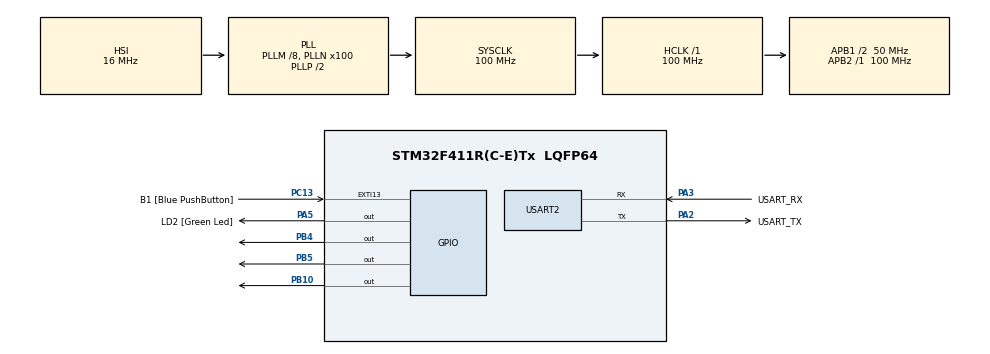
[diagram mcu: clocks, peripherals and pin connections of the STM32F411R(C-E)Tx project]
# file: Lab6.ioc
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FREERTOS.Tasks01=defaultTask,24,128,StartDefaultTask,Default,NULL,Dynamic,NULL,NULL
Mcu.Family=STM32F4
Mcu.Name=STM32F411R(C-E)Tx
Mcu.Package=LQFP64
NVIC.PriorityGroup=NVIC_PRIORITYGROUP_4
PA13.GPIO_Label=TMS
PA13.Mode=Serial_Wire
PA13.Signal=SYS_JTMS-SWDIO
PA14.GPIO_Label=TCK
PA14.Mode=Serial_Wire
PA14.Signal=SYS_JTCK-SWCLK
PA2.GPIO_Label=USART_TX
PA2.Mode=Asynchronous
PA2.Signal=USART2_TX
PA3.GPIO_Label=USART_RX
PA3.Mode=Asynchronous
PA3.Signal=USART2_RX
PA5.GPIO_Label=LD2 [Green Led]
PA5.Signal=GPIO_Output
PB10.Signal=GPIO_Output
PB3.GPIO_Label=SWO
PB3.Signal=SYS_JTDO-SWO
PB4.Signal=GPIO_Output
PB5.Signal=GPIO_Output
PC13-ANTI_TAMP.GPIO_Label=B1 [Blue PushButton]
PC13-ANTI_TAMP.GPIO_ModeDefaultEXTI=GPIO_MODE_IT_FALLING
PC13-ANTI_TAMP.Signal=GPXTI13
PC14-OSC32_IN.Mode=LSE-External-Oscillator
PC14-OSC32_IN.Signal=RCC_OSC32_IN
PC15-OSC32_OUT.Mode=LSE-External-Oscillator
PC15-OSC32_OUT.Signal=RCC_OSC32_OUT
PH0\ -\ OSC_IN.Mode=HSE-External-Clock-Source
PH0\ -\ OSC_IN.Signal=RCC_OSC_IN
PH1\ -\ OSC_OUT.Mode=HSE-External-Clock-Source
PH1\ -\ OSC_OUT.Signal=RCC_OSC_OUT
ProjectManager.HeapSize=0x200
ProjectManager.StackSize=0x400
ProjectManager.TargetToolchain=STM32CubeIDE
RCC.48MHZClocksFreq_Value=50000000
RCC.AHBFreq_Value=100000000
RCC.APB1CLKDivider=RCC_HCLK_DIV2
RCC.APB1Freq_Value=50000000
RCC.APB1TimFreq_Value=100000000
RCC.APB2Freq_Value=100000000
RCC.APB2TimFreq_Value=100000000
RCC.CortexFreq_Value=100000000
RCC.FLatency-AdvancedSettings=FLASH_LATENCY_3
RCC.HCLKFreq_Value=100000000
RCC.HSE_VALUE=8000000
RCC.HSI_VALUE=16000000
RCC.PLLM=8
RCC.PLLN=100
RCC.SYSCLKFreq_VALUE=100000000
RCC.SYSCLKSource=RCC_SYSCLKSOURCE_PLLCLK
RCC.VCOOutputFreq_Value=200000000
USART2.VirtualMode=VM_ASYNC
VP_FREERTOS_VS_CMSIS_V2.Mode=CMSIS_V2
board=NUCLEO-F411RE

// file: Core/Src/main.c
/* USER CODE BEGIN Header */
/**
  ******************************************************************************
  * @file           : main.c
  * @brief          : Main program body
  ******************************************************************************
  * @attention
  *
  * Copyright (c) 2023 STMicroelectronics.
  * All rights reserved.
  *
  * This software is licensed under terms that can be found in the LICENSE file
  * in the root directory of this software component.
  * If no LICENSE file comes with this software, it is provided AS-IS.
  *
  ******************************************************************************
  */
/* USER CODE END Header */
#include "main.h"
#include "cmsis_os.h"

UART_HandleTypeDef huart2;

/* Definitions for defaultTask */
osThreadId_t defaultTaskHandle;
const osThreadAttr_t defaultTask_attributes = {
  .name = "defaultTask",
  .stack_size = 128 * 4,
  .priority = (osPriority_t) osPriorityNormal,
};

void SystemClock_Config(void);
static void MX_GPIO_Init(void);
static void MX_USART2_UART_Init(void);
void StartDefaultTask(void *argument);

/* USER CODE BEGIN 0 */
struct my_message{
	char data[32];
};
osMessageQueueAttr_t queue_attr = {
		.name = "my_queue"
};
osMessageQueueId_t queue_id;
osThreadId_t thread_led1,thread_led2,thread_led3,thread_led4,thread_uart0,thread_uart1,thread_queue;
osMutexAttr_t mutex_attr = {
		.name = "my_mutex"
};
osMutexId_t mutex_id;
void LED1_Thread(void *argument){
//	Lab 6-1
	while(1){
		HAL_GPIO_TogglePin(GPIOA, GPIO_PIN_5);
		osDelay(50);
	}
}
void LED2_Thread(void *argument){
//	Lab 6-1
	while(1){
		HAL_GPIO_TogglePin(GPIOB, GPIO_PIN_10);
		osDelay(18);
	}
}
void LED3_Thread(void *argument){
//	Lab 6-1
	while(1){
		HAL_GPIO_TogglePin(GPIOB, GPIO_PIN_4);
		osDelay(128);
	}
}
void LED4_Thread(void *argument){
//	Lab 6-1
	while(1){
		HAL_GPIO_TogglePin(GPIOB, GPIO_PIN_5);
		osDelay(64);
	}
}
void UART0_Thread(void *argument){
	int threadID = 0; // threadID is 0 for one thread and 1 for another
	int idx = 0;
	char buffer[32];
	while(1) {
//		Lab 6-3
		osMutexAcquire(mutex_id, osWaitForever);
		sprintf(buffer, "TID: %d %d\r\n", threadID, idx);
		idx ++;
		HAL_UART_Transmit(&huart2, buffer, strlen(buffer), 1000);
		osMutexRelease(mutex_id);
//		Lab 6-4
//		sprintf(buffer, "TID: %d %d\r\n", threadID, idx);
//		idx ++;
//		osMessageQueuePut(queue_id, buffer, 0, 0);
	}
}
void UART1_Thread(void *argument){
	int threadID = 1; // threadID is 0 for one thread and 1 for another
	int idx = 0;
	char buffer[32];
	while(1) {
//		Lab 6-3
		osMutexAcquire(mutex_id, osWaitForever);
		sprintf(buffer, "TID: %d %d\r\n", threadID, idx);
		idx ++;
		HAL_UART_Transmit(&huart2, buffer, strlen(buffer), 1000);
		osMutexRelease(mutex_id);
//		Lab 6-4
//		sprintf(buffer, "TID: %d %d\r\n", threadID, idx);
//		idx ++;
//		struct my_message msg;
//		strcpy(msg.data,buffer);
//		osMessageQueuePut(queue_id, buffer, 0, 0);
	}
}
void Queue_Thread(void *argument){
//	Lab 6-4
//	char msg[32];
//	if(osMessageQueueGet(queue_id, msg, NULL, osWaitForever) == osOK){
//		HAL_UART_Transmit(&huart2, (uint8_t *)(msg), sizeof(msg), HAL_MAX_DELAY);
//	}
}
/* USER CODE END 0 */

int main(void)
{

  /* MCU Configuration--------------------------------------------------------*/

  /* Reset of all peripherals, Initializes the Flash interface and the Systick. */
  HAL_Init();

  /* Configure the system clock */
  SystemClock_Config();

  /* Initialize all configured peripherals */
  MX_GPIO_Init();
  MX_USART2_UART_Init();
  /* USER CODE BEGIN 2 */
//  Lab 6-3
  mutex_id = osMutexNew(&mutex_attr);
//  Lab 6-4
  queue_id = osMessageQueueNew(16, sizeof(struct my_message), &queue_attr);
//  Lab 6-1 + 6-2
//  thread_led1 = osThreadNew(LED1_Thread, NULL, NULL);
//  thread_led2 = osThreadNew(LED2_Thread, NULL, NULL);
//  thread_led3 = osThreadNew(LED3_Thread, NULL, NULL);
//  thread_led4 = osThreadNew(LED4_Thread, NULL, NULL);
//  thread_uart0 = osThreadNew(UART0_Thread, NULL, NULL);
//  thread_uart1 = osThreadNew(UART1_Thread, NULL, NULL);
//  thread_queue = osThreadNew(Queue_Thread, NULL, NULL);
  /* USER CODE END 2 */

  /* Init scheduler */
  osKernelInitialize();

  /* Create the thread(s) */
  /* creation of defaultTask */
  defaultTaskHandle = osThreadNew(StartDefaultTask, NULL, &defaultTask_attributes);

  /* Start scheduler */
  osKernelStart();
  /* We should never get here as control is now taken by the scheduler */
  /* Infinite loop */
  while (1)
  {

  }
}

void SystemClock_Config(void)
{
  RCC_OscInitTypeDef RCC_OscInitStruct = {0};
  RCC_ClkInitTypeDef RCC_ClkInitStruct = {0};

  /** Configure the main internal regulator output voltage
  */
  __HAL_RCC_PWR_CLK_ENABLE();
  __HAL_PWR_VOLTAGESCALING_CONFIG(PWR_REGULATOR_VOLTAGE_SCALE1);

  /** Initializes the RCC Oscillators according to the specified parameters
  * in the RCC_OscInitTypeDef structure.
  */
  RCC_OscInitStruct.OscillatorType = RCC_OSCILLATORTYPE_HSI;
  RCC_OscInitStruct.HSIState = RCC_HSI_ON;
  RCC_OscInitStruct.HSICalibrationValue = RCC_HSICALIBRATION_DEFAULT;
  RCC_OscInitStruct.PLL.PLLState = RCC_PLL_ON;
  RCC_OscInitStruct.PLL.PLLSource = RCC_PLLSOURCE_HSI;
  RCC_OscInitStruct.PLL.PLLM = 8;
  RCC_OscInitStruct.PLL.PLLN = 100;
  RCC_OscInitStruct.PLL.PLLP = RCC_PLLP_DIV2;
  RCC_OscInitStruct.PLL.PLLQ = 4;
  if (HAL_RCC_OscConfig(&RCC_OscInitStruct) != HAL_OK)
  {
    Error_Handler();
  }

  /** Initializes the CPU, AHB and APB buses clocks
  */
  RCC_ClkInitStruct.ClockType = RCC_CLOCKTYPE_HCLK|RCC_CLOCKTYPE_SYSCLK
                              |RCC_CLOCKTYPE_PCLK1|RCC_CLOCKTYPE_PCLK2;
  RCC_ClkInitStruct.SYSCLKSource = RCC_SYSCLKSOURCE_PLLCLK;
  RCC_ClkInitStruct.AHBCLKDivider = RCC_SYSCLK_DIV1;
  RCC_ClkInitStruct.APB1CLKDivider = RCC_HCLK_DIV2;
  RCC_ClkInitStruct.APB2CLKDivider = RCC_HCLK_DIV1;

  if (HAL_RCC_ClockConfig(&RCC_ClkInitStruct, FLASH_LATENCY_3) != HAL_OK)
  {
    Error_Handler();
  }
}

static void MX_USART2_UART_Init(void)
{

  huart2.Instance = USART2;
  huart2.Init.BaudRate = 115200;
  huart2.Init.WordLength = UART_WORDLENGTH_8B;
  huart2.Init.StopBits = UART_STOPBITS_1;
  huart2.Init.Parity = UART_PARITY_NONE;
  huart2.Init.Mode = UART_MODE_TX_RX;
  huart2.Init.HwFlowCtl = UART_HWCONTROL_NONE;
  huart2.Init.OverSampling = UART_OVERSAMPLING_16;
  if (HAL_UART_Init(&huart2) != HAL_OK)
  {
    Error_Handler();
  }

}

static void MX_GPIO_Init(void)
{
  GPIO_InitTypeDef GPIO_InitStruct = {0};

  /* GPIO Ports Clock Enable */
  __HAL_RCC_GPIOC_CLK_ENABLE();
  __HAL_RCC_GPIOH_CLK_ENABLE();
  __HAL_RCC_GPIOA_CLK_ENABLE();
  __HAL_RCC_GPIOB_CLK_ENABLE();

  /*Configure GPIO pin Output Level */
  HAL_GPIO_WritePin(LD2_GPIO_Port, LD2_Pin, GPIO_PIN_RESET);

  /*Configure GPIO pin Output Level */
  HAL_GPIO_WritePin(GPIOB, GPIO_PIN_10|GPIO_PIN_4|GPIO_PIN_5, GPIO_PIN_RESET);

  /*Configure GPIO pin : B1_Pin */
  GPIO_InitStruct.Pin = B1_Pin;
  GPIO_InitStruct.Mode = GPIO_MODE_IT_FALLING;
  GPIO_InitStruct.Pull = GPIO_NOPULL;
  HAL_GPIO_Init(B1_GPIO_Port, &GPIO_InitStruct);

  /*Configure GPIO pin : LD2_Pin */
  GPIO_InitStruct.Pin = LD2_Pin;
  GPIO_InitStruct.Mode = GPIO_MODE_OUTPUT_PP;
  GPIO_InitStruct.Pull = GPIO_NOPULL;
  GPIO_InitStruct.Speed = GPIO_SPEED_FREQ_LOW;
  HAL_GPIO_Init(LD2_GPIO_Port, &GPIO_InitStruct);

  /*Configure GPIO pins : PB10 PB4 PB5 */
  GPIO_InitStruct.Pin = GPIO_PIN_10|GPIO_PIN_4|GPIO_PIN_5;
  GPIO_InitStruct.Mode = GPIO_MODE_OUTPUT_PP;
  GPIO_InitStruct.Pull = GPIO_NOPULL;
  GPIO_InitStruct.Speed = GPIO_SPEED_FREQ_LOW;
  HAL_GPIO_Init(GPIOB, &GPIO_InitStruct);

}

/* USER CODE BEGIN 4 */
uint32_t  exec;
void Timer_Callback_1(void const *arg)  {
 HAL_GPIO_TogglePin(GPIOA, GPIO_PIN_5);
}
void Timer_Callback_2(void const *arg)  {
 HAL_GPIO_TogglePin(GPIOB, GPIO_PIN_10);
}
void Timer_Callback_3(void const *arg)  {
 HAL_GPIO_TogglePin(GPIOB, GPIO_PIN_4);
}
void Timer_Callback_4(void const *arg)  {
 HAL_GPIO_TogglePin(GPIOB, GPIO_PIN_5);
}
/* USER CODE END 4 */

void StartDefaultTask(void *argument)
{
  /* USER CODE BEGIN 5 */
	osTimerDef(Timer_1,Timer_Callback_1);
	osTimerId TimerTaskHandle_1 = osTimerCreate(osTimer(Timer_1), osTimerPeriodic, &exec);
	osTimerStart(TimerTaskHandle_1, 50);
	osTimerDef(Timer_2,Timer_Callback_2);
	osTimerId TimerTaskHandle_2 = osTimerCreate(osTimer(Timer_2), osTimerPeriodic, &exec);
	osTimerStart(TimerTaskHandle_2, 18);
	osTimerDef(Timer_3,Timer_Callback_3);
	osTimerId TimerTaskHandle_3 = osTimerCreate(osTimer(Timer_3), osTimerPeriodic, &exec);
	osTimerStart(TimerTaskHandle_3, 128);
	osTimerDef(Timer_4,Timer_Callback_4);
	osTimerId TimerTaskHandle_4 = osTimerCreate(osTimer(Timer_4), osTimerPeriodic, &exec);
	osTimerStart(TimerTaskHandle_4, 64);
  /* Infinite loop */
  for(;;)
  {
    osDelay(1);
  }
  /* USER CODE END 5 */
}

void Error_Handler(void)
{
  __disable_irq();
  while (1)
  {
  }
}
